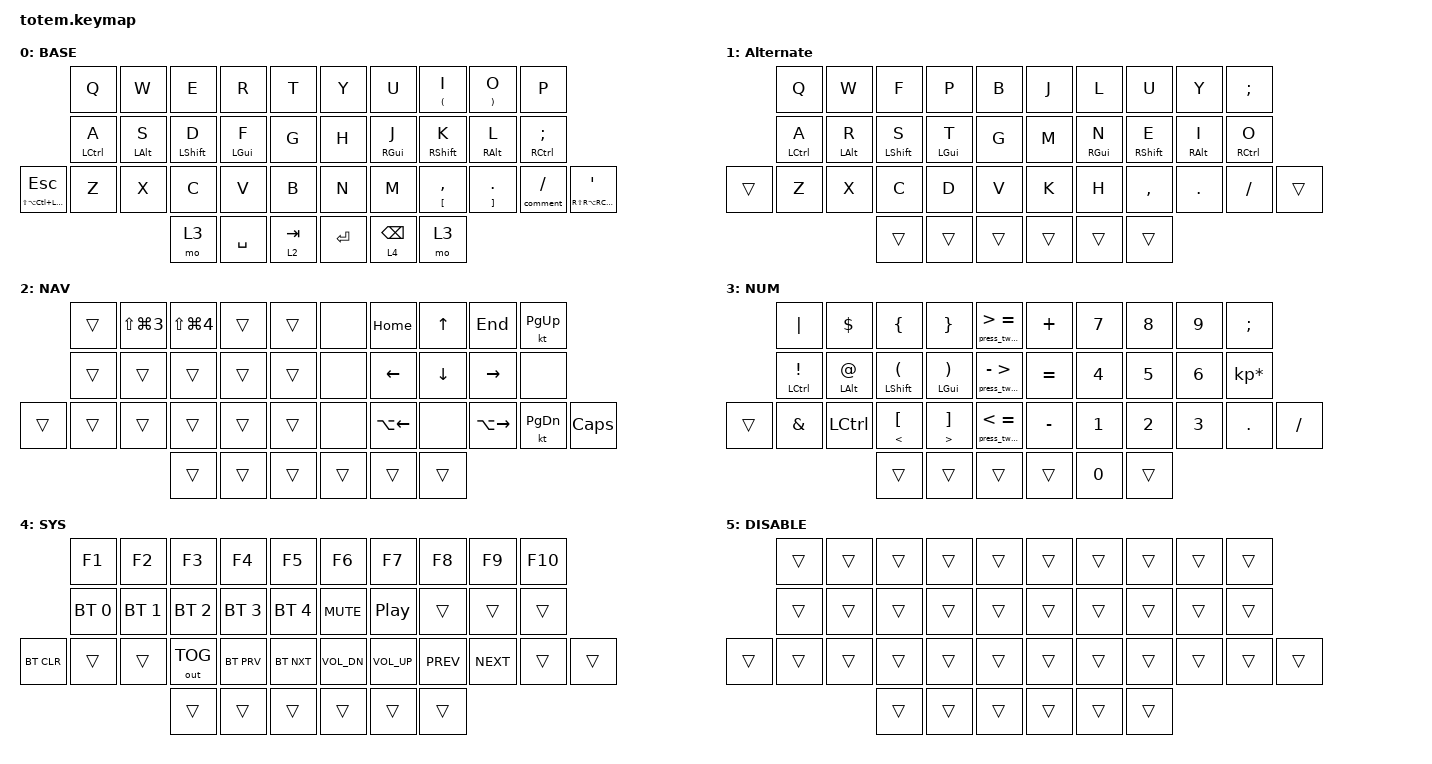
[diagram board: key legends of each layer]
//
//                                                        ▀▀▀▀▀     ▀▀▀▀▀          ▀▀█▀▀
//                                                        ▄▀▀▀▄  ▄  ▄▀▀▀▄  ▄  ▄▀▀▀▄  █  ▄▀▀▀▄
//                                                        █   █  █  █   █  █  █   █  █  █   █
//                                                         ▀▀▀   █   ▀▀▀   █   ▀▀▀   ▀   ▀▀▀
//                                                               █      ▄▄▄█▄▄▄    █   █
//                                                               ▀      █  █  █     █▄█
//                                                             ▀▀▀▀▀    █  █  █      ▀
//                                                                      ▀  ▀  ▀
//
// ▄▄▄▄▄▄▄▄▄▄▄▄▄▄▄▄▄▄▄▄▄▄▄▄▄▄▄▄▄▄▄▄▄▄▄▄▄▄▄▄▄▄▄▄▄▄▄▄▄▄▄▄▄▄▄▄▄▄▄▄▄▄▄▄▄▄▄▄▄▄▄▄▄▄▄▄▄▄▄▄▄▄▄▄▄▄▄▄▄▄▄▄▄▄▄▄▄▄▄▄▄▄▄▄▄▄▄▄▄▄▄▄▄▄▄▄▄▄▄▄▄▄▄▄▄▄▄▄▄▄▄▄▄▄▄▄▄▄▄▄▄▄▄▄▄▄▄▄▄

#include "zmk-helpers/helper.h"
#include "zmk-helpers/key-labels/totem.h"
#include <behaviors.dtsi>
#include <dt-bindings/zmk/bt.h>
#include <dt-bindings/zmk/keys.h>
#include <dt-bindings/zmk/outputs.h>

#define BASE 0
#define NAV  1
#define DIG  2
#define SYS  3
#define QUICK_TAP_MS 175

/* Timeless homerow mods */
// https://github.com/urob/zmk-config/tree/main#timeless-homerow-mods

#define KEYS_L LT0 LT1 LT2 LT3 LT4 LM0 LM1 LM2 LM3 LM4 LB0 LB1 LB2 LB3 LB4 LB5  // left hand
#define KEYS_R RT0 RT1 RT2 RT3 RT4 RM0 RM1 RM2 RM3 RM4 RB0 RB1 RB2 RB3 RB4 RB5  // right hand
#define THUMBS LH2 LH1 LH0 RH0 RH1 RH2 // thumb cluster for both hands

// proper urob's home row, uncomment it if you are not going to use visual editor
//#define MAKE_HRM(NAME, HOLD, TAP, TRIGGER_POS) \
//    ZMK_HOLD_TAP(NAME, \
//        flavor = "balanced"; \
//        tapping-term-ms = <280>; \
//        quick-tap-ms = <QUICK_TAP_MS>; \
//        require-prior-idle-ms = <150>; \
//        bindings = <HOLD>, <TAP>; \
//        hold-trigger-key-positions = <TRIGGER_POS>; \
//        hold-trigger-on-release; \
//    )
//
//MAKE_HRM(hml, &kp, &kp, KEYS_R THUMBS)  // left-hand HRMs
//MAKE_HRM(hmr, &kp, &kp, KEYS_L THUMBS)  // right-hand HRMs
//MAKE_HRM(hml_layer, &mo, &kp, KEYS_R THUMBS) // switch layer like HRM

&mt {
    quick-tap-ms = <100>;
    global-quick-tap;
    flavor = "tap-preferred";
    tapping-term-ms = <170>;
};

/ {
    combos {
        compatible = "zmk,combos";

        combo_backspace {
            bindings = <&kp BACKSPACE>;
            key-positions = <16 17>;
            timeout-ms = <70>;
            layers = <5>;
        };

        combo_opt_backspace {
            bindings = <&kp LA(BACKSPACE)>;
            key-positions = <16 17 18>;
            timeout-ms = <70>;
            layers = <5>;
        };

        combo_shift {
            bindings = <&sk LEFT_SHIFT>;
            key-positions = <13 12>;
            timeout-ms = <100>;
            layers = <5>;
        };

        combo_to_num_layer {
            bindings = <&to 3>;
            key-positions = <32 37>;
            layers = <5>;
        };

        combo_caps_word {
            bindings = <&caps_word>;
            key-positions = <11 12 13>;
        };

        combo_toggle_alt_layer {
            bindings = <&tog 1>;
            key-positions = <1 3 6 8>;
        };
    };

    macros {
        /**
         * Temporarily switches to a layer (`&mo`) while a modifier is held.
         * Analogous to QMK's `LM()`, using a parameterized macro.
         *
         * Params:
         *  1. Layer to switch to
         *  2. Modifier to press while layer is active
         *
         * Example:
         *  `&lm NUM_LAYER LSHIFT`
         */

        lm: lm {
            compatible = "zmk,behavior-macro-two-param";
            wait-ms = <0>;
            tap-ms = <0>;
            #binding-cells = <2>;
            bindings =
                <&macro_param_1to1>,
                <&macro_press>,
                <&mo MACRO_PLACEHOLDER &macro_param_2to1>,
                <&macro_press>,
                <&kp MACRO_PLACEHOLDER>,
                <&macro_pause_for_release>,
                <&macro_param_2to1>,
                <&macro_release>,
                <&kp MACRO_PLACEHOLDER &macro_param_1to1>,
                <&macro_release>,
                <&mo MACRO_PLACEHOLDER>;
        };

        press_two_keys: press_two_keys {
            compatible = "zmk,behavior-macro-two-param";
            wait-ms = <0>;
            tap-ms = <0>;
            #binding-cells = <2>;
            bindings =
                <&macro_param_1to1>,
                <&macro_tap>,
                <&kp MACRO_PLACEHOLDER &macro_param_2to1>,
                <&macro_tap>,
                <&kp MACRO_PLACEHOLDER>;
        };

        more_or_equal: more_or_equal {
            compatible = "zmk,behavior-macro";
            #binding-cells = <0>;
            bindings = <&kp MINUS &kp GT>;
            label = "MORE_OR_EQUAL";
        };

        less_or_equal: less_or_equal {
            compatible = "zmk,behavior-macro";
            #binding-cells = <0>;
            bindings = <&kp LT &kp EQUAL>;
            label = "LESS_OR_EQUAL";
        };

        fun_arrow_right: fun_arrow_right {
            compatible = "zmk,behavior-macro";
            #binding-cells = <0>;
            bindings = <&kp MINUS &kp GT>;
            label = "FUN_ARROW_RIGHT";
        };

        comment: comment {
            compatible = "zmk,behavior-macro";
            #binding-cells = <0>;
            bindings = <&kp FSLH &kp STAR>;
            label = "MACROS_COMMENT";
        };
    };

    behaviors {
        // this is homerow mod that works identical to urob's one, but this one allows visual editor to understand

        hml: hml {
            compatible = "zmk,behavior-hold-tap";
            label = "HML";
            bindings = <&kp>, <&kp>;

            #binding-cells = <2>;
            tapping-term-ms = <280>;
            quick-tap-ms = <175>;
            require-prior-idle-ms = <150>;
            flavor = "balanced";
            hold-trigger-key-positions = <KEYS_R THUMBS>;
            hold-trigger-on-release;
        };

        hmr: hmr {
            compatible = "zmk,behavior-hold-tap";
            label = "HMR";
            bindings = <&kp>, <&kp>;

            #binding-cells = <2>;
            tapping-term-ms = <280>;
            quick-tap-ms = <175>;
            require-prior-idle-ms = <150>;
            flavor = "balanced";
            hold-trigger-key-positions = <KEYS_L THUMBS>;
            hold-trigger-on-release;
        };

        comment_or: comment_or {
            compatible = "zmk,behavior-hold-tap";
            label = "slash_or_comm";
            bindings = <&comment>, <&kp>;

            #binding-cells = <2>;
            tapping-term-ms = <200>;
            flavor = "tap-preferred";
        };
    };

    keymap {
        compatible = "zmk,keymap";

        QWERTY {
            label = "BASE";
            bindings = <
                          &kp Q         &kp W        &kp E         &kp R            &kp T        &kp Y    &kp U             &hmr LEFT_PARENTHESIS I  &hmr RIGHT_PARENTHESIS O  &kp P
                          &hml LCTRL A  &hml LALT S  &hml LSHFT D  &hml LEFT_GUI F  &kp G        &kp H    &hmr RIGHT_GUI J  &hmr RSHFT K             &hmr RIGHT_ALT L          &hmr RCTRL SEMICOLON
&mt LS(LA(LC(LGUI))) ESC  &kp Z         &kp X        &kp C         &kp V            &kp B        &kp N    &kp M             &hmr LEFT_BRACKET COMMA  &hmr RIGHT_BRACKET DOT    &comment_or 0 SLASH   &mt RS(RA(RC(RGUI))) SQT
                                                     &mo 3         &kp SPACE        &lt 2 TAB    &kp RET  &lt 4 BSPC        &mo 3
            >;
        };

        Alternate {
            bindings = <
        &kp Q         &kp W        &kp F          &kp P        &kp B     &kp J   &kp L        &kp U          &kp Y        &kp SEMICOLON
        &hml LCTRL A  &hml LALT R  &hml LSHIFT S  &hml LGUI T  &kp G     &kp M   &hmr RGUI N  &hmr RSHIFT E  &hmr RALT I  &hmr RCTRL O
&trans  &kp Z         &kp X        &kp C          &kp D        &kp V     &kp K   &kp H        &kp COMMA      &kp PERIOD   &kp SLASH      &trans
                                   &trans         &trans       &trans    &trans  &trans       &trans
            >;
        };

        Navigation {
            label = "NAV";
            bindings = <
        &trans  &kp LS(LG(NUMBER_3))  &kp LS(LG(NUMBER_4))  &trans  &trans    &none   &kp HOME      &kp UP    &kp END        &kt PAGE_UP
        &trans  &trans                &trans                &trans  &trans    &none   &kp LEFT      &kp DOWN  &kp RIGHT      &none
&trans  &trans  &trans                &trans                &trans  &trans    &none   &kp LA(LEFT)  &none     &kp LA(RIGHT)  &kt PAGE_DOWN  &kp CAPSLOCK
                                      &trans                &trans  &trans    &trans  &trans        &trans
            >;
        };

        Numbers {
            label = "NUM";
            bindings = <
        &kp PIPE                &kp DOLLAR             &kp LEFT_BRACE               &kp RIGHT_BRACE                 &press_two_keys GREATER_THAN EQUAL    &kp PLUS   &kp N7  &kp N8  &kp N9  &kp SEMICOLON
        &hml LCTRL EXCLAMATION  &hml LEFT_ALT AT_SIGN  &hml LSHFT LEFT_PARENTHESIS  &hml LGUI RIGHT_PARENTHESIS     &press_two_keys MINUS GREATER_THAN    &kp EQUAL  &kp N4  &kp N5  &kp N6  &kp KP_MULTIPLY
&trans  &kp AMPERSAND           &kp LCTRL              &mt LESS_THAN LEFT_BRACKET   &mt GREATER_THAN RIGHT_BRACKET  &press_two_keys LESS_THAN EQUAL       &kp MINUS  &kp N1  &kp N2  &kp N3  &kp PERIOD       &kp SLASH
                                                       &trans                       &trans                          &trans                                &trans     &kp N0  &trans
            >;
        };

        System {
            label = "SYS";
            bindings = <
            &kp F1        &kp F2        &kp F3        &kp F4        &kp F5          &kp F6        &kp F7        &kp F8      &kp F9      &kp F10
            &bt BT_SEL 0  &bt BT_SEL 1  &bt BT_SEL 2  &bt BT_SEL 3  &bt BT_SEL 4    &kp C_MUTE    &kp C_PP      &trans      &trans      &trans
&bt BT_CLR  &trans        &trans        &out OUT_TOG  &bt BT_PRV    &bt BT_NXT      &kp C_VOL_DN  &kp C_VOL_UP  &kp C_PREV  &kp C_NEXT  &trans   &trans
                                        &trans        &trans        &trans          &trans        &trans        &trans
            >;
        };

        DISABLE {
            bindings = <
        &trans  &trans  &trans  &trans  &trans    &trans  &trans  &trans  &trans  &trans
        &trans  &trans  &trans  &trans  &trans    &trans  &trans  &trans  &trans  &trans
&trans  &trans  &trans  &trans  &trans  &trans    &trans  &trans  &trans  &trans  &trans  &trans
                        &trans  &trans  &trans    &trans  &trans  &trans
            >;
        };
    };
};
